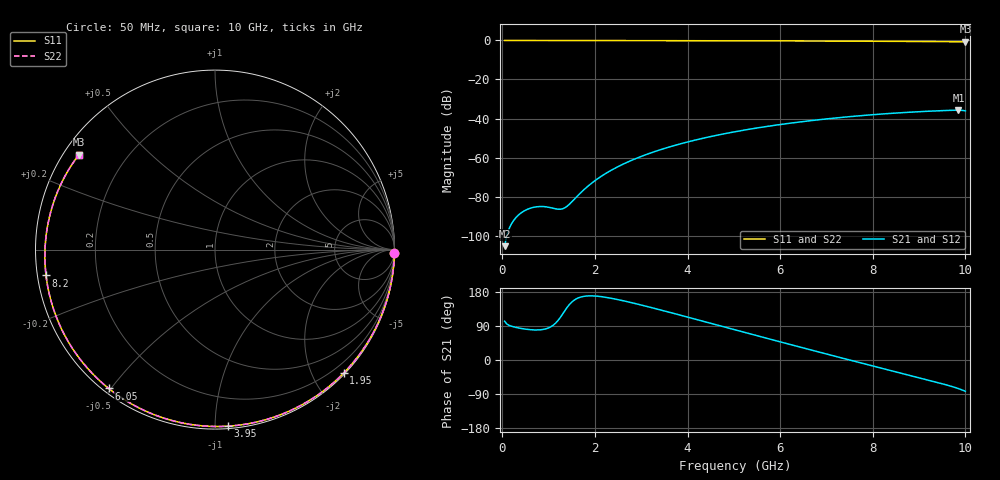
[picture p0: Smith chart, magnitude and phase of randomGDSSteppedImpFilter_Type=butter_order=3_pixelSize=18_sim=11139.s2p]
! freq	dB(S11)	phase(S11)	dB(S12)	phase(S12)
!  dB(S21)	phase(S21)	dB(S22)	phase(S22)
!S-par simulation data
#  GHz  S  DB  R 50
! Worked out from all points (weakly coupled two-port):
!   200 points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, 50 MHz to 10 GHz, reference 50 ohm
!   highest |S21| = -35.74 dB at 9.85 GHz (marker M1); lowest = -105.4 dB at 50 MHz (marker M2)
!   lowest |S11| = -0.7 dB at 10 GHz (marker M3), VSWR 25.32, Z = 2.17 + j15.7 ohm
!   |S11| at or under -10 dB: nowhere
!   |S22| runs from -0.7 to 0.0 dB; largest |S21 - S12| = 0
!   S11 on the Smith chart (normalised r, x): 50 MHz: open; 1.95 GHz: 0.02, -2.49; 3.95 GHz: 0.01, -1.07; 6.05 GHz: 0.02, -0.49; 8.2 GHz: 0.02, -0.08; 10 GHz: 0.04, +0.31
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0.05  -0.00 -1.1  -105.41 102.4  -105.41 102.4  -0.00 -1.1
0.8  -0.02 -18.2  -85.11 79.5  -85.11 79.5  -0.02 -18.2
1.6  -0.05 -36.1  -80.28 161.5  -80.28 161.5  -0.05 -36.1
1.75  -0.05 -39.4  -76.76 167.7  -76.76 167.7  -0.05 -39.4
1.95  -0.06 -43.8  -72.74 169.2  -72.74 169.2  -0.06 -43.8
2.25  -0.06 -50.3  -67.92 165.1  -67.92 165.1  -0.06 -50.3
2.6  -0.07 -57.8  -63.48 156.7  -63.48 156.7  -0.07 -57.8
3  -0.09 -66.3  -59.42 145.1  -59.42 145.1  -0.09 -66.3
3.4  -0.10 -74.6  -56.09 132.6  -56.09 132.6  -0.10 -74.6
3.95  -0.12 -85.9  -52.33 114.9  -52.33 114.9  -0.12 -85.9
4.5  -0.14 -96.9  -49.24 96.9  -49.24 96.9  -0.14 -96.9
5.05  -0.17 -107.8  -46.66 78.8  -46.66 78.8  -0.17 -107.8
5.55  -0.19 -117.6  -44.66 62.5  -44.66 62.5  -0.19 -117.6
6.05  -0.23 -127.4  -42.92 46.3  -42.92 46.3  -0.23 -127.4
6.7  -0.28 -140.3  -40.99 25.4  -40.99 25.4  -0.28 -140.3
7.5  -0.35 -156.5  -39.04 -0.0  -39.04 -0.0  -0.35 -156.5
8.2  -0.42 -171.3  -37.69 -22.1  -37.69 -22.1  -0.42 -171.3
8.35  -0.44 -174.6  -37.44 -26.7  -37.44 -26.7  -0.44 -174.6
8.75  -0.49 176.4  -36.83 -39.2  -36.83 -39.2  -0.49 176.4
9.15  -0.55 166.9  -36.33 -51.6  -36.33 -51.6  -0.55 166.9
9.85  -0.65 149.1  -35.74 -75.4  -35.74 -75.4  -0.65 149.1
10  -0.69 145.1  -36.10 -82.5  -36.10 -82.5  -0.69 145.1
